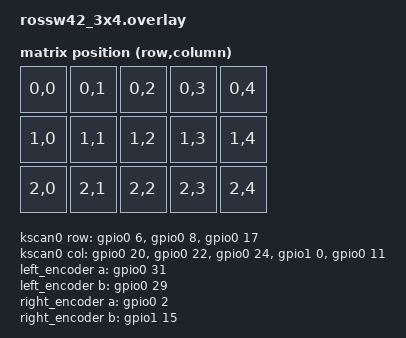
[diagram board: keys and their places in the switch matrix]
/*
 * Copyright (c) 2024 rossw42
 *
 * SPDX-License-Identifier: MIT
 */

#include <dt-bindings/zmk/matrix_transform.h>

/ {
    chosen {
        zmk,kscan = &kscan0;
        zmk,matrix_transform = &default_transform;
        zmk,display = &oled;
    };

    default_transform: keymap_transform_0 {
        compatible = "zmk,matrix-transform";
        columns = <5>;
        rows = <3>;
        map = <
            RC(0,0) RC(0,1) RC(0,2) RC(0,3) RC(0,4)
            RC(1,0) RC(1,1) RC(1,2) RC(1,3) RC(1,4)
            RC(2,0) RC(2,1) RC(2,2) RC(2,3) RC(2,4)
        >;
    };

    kscan0: kscan {
        compatible = "zmk,kscan-gpio-matrix";
        label = "KSCAN";

        diode-direction = "col2row";
        row-gpios
            = <&gpio0  6 (GPIO_ACTIVE_HIGH | GPIO_PULL_DOWN)>  // D4
            , <&gpio0  8 (GPIO_ACTIVE_HIGH | GPIO_PULL_DOWN)>  // D5
            , <&gpio0 17 (GPIO_ACTIVE_HIGH | GPIO_PULL_DOWN)>  // D6
            ;
        col-gpios
            = <&gpio0 20 GPIO_ACTIVE_HIGH>  // D7
            , <&gpio0 22 GPIO_ACTIVE_HIGH>  // D8
            , <&gpio0 24 GPIO_ACTIVE_HIGH>  // D9
            , <&gpio1  0 GPIO_ACTIVE_HIGH>  // D10
            , <&gpio0 11 GPIO_ACTIVE_HIGH>  // D16
            ;
    };

    // First encoder (left side)
    left_encoder: encoder_left {
        compatible = "alps,ec11";
        label = "LEFT_ENCODER";
        a-gpios = <&gpio0 31 (GPIO_ACTIVE_HIGH | GPIO_PULL_UP)>;  // D21
        b-gpios = <&gpio0 29 (GPIO_ACTIVE_HIGH | GPIO_PULL_UP)>;  // D20
        steps = <80>;
        status = "okay";
    };

    // Second encoder (right side)
    right_encoder: encoder_right {
        compatible = "alps,ec11";
        label = "RIGHT_ENCODER";
        a-gpios = <&gpio0 2 (GPIO_ACTIVE_HIGH | GPIO_PULL_UP)>;   // D19
        b-gpios = <&gpio1 15 (GPIO_ACTIVE_HIGH | GPIO_PULL_UP)>;  // D18
        steps = <80>;
        status = "okay";
    };

    // Soft off behavior
    soft_off_behavior {
        compatible = "zmk,behavior-soft-off";
        label = "SOFT_OFF";
        #binding-cells = <0>;
    };
};

// OLED Display configuration
&i2c0 {
    status = "okay";
    
    oled: ssd1306@3c {
        compatible = "solomon,ssd1306fb";
        reg = <0x3c>;
        label = "DISPLAY";
        width = <128>;
        height = <32>;
        segment-offset = <0>;
        page-offset = <0>;
        display-offset = <0>;
        multiplex-ratio = <31>;
        segment-remap;
        com-invdir;
        com-sequential;
        prechargep = <0x22>;
    };
};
